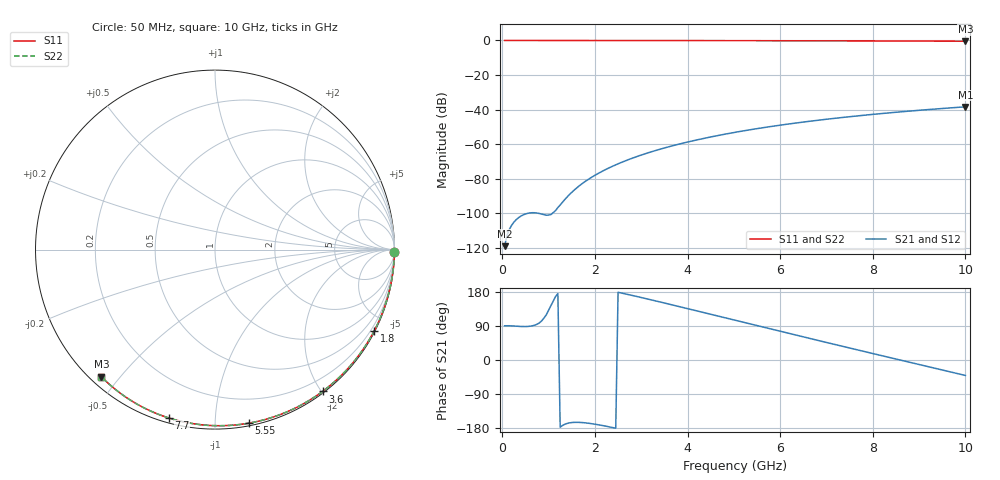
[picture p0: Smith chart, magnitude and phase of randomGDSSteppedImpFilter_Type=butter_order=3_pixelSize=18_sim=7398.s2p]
! freq	dB(S11)	phase(S11)	dB(S12)	phase(S12)
!  dB(S21)	phase(S21)	dB(S22)	phase(S22)
!S-par simulation data
#  GHz  S  DB  R 50
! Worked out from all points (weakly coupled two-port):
!   200 points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, 50 MHz to 10 GHz, reference 50 ohm
!   highest |S21| = -38.41 dB at 10 GHz (marker M1); lowest = -119.0 dB at 50 MHz (marker M2)
!   lowest |S11| = -0.4 dB at 10 GHz (marker M3), VSWR 38.90, Z = 1.54 - j22.3 ohm
!   |S11| at or under -10 dB: nowhere
!   |S22| runs from -0.4 to 0.0 dB; largest |S21 - S12| = 0
!   S11 on the Smith chart (normalised r, x): 50 MHz: open; 1.8 GHz: 0.04, -4.16; 3.6 GHz: 0.02, -2.01; 5.55 GHz: 0.02, -1.22; 7.7 GHz: 0.02, -0.76; 10 GHz: 0.03, -0.45
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0.05  -0.00 -0.8  -119.03 90.3  -119.03 90.3  -0.00 -0.8
0.9  -0.02 -13.6  -100.85 110.6  -100.85 110.6  -0.02 -13.6
1.75  -0.03 -26.3  -82.35 -165.4  -82.35 -165.4  -0.03 -26.3
1.8  -0.03 -27.0  -81.40 -166.0  -81.40 -166.0  -0.03 -27.0
1.85  -0.04 -27.7  -80.51 -166.7  -80.51 -166.7  -0.04 -27.7
1.9  -0.04 -28.5  -79.64 -167.5  -79.64 -167.5  -0.04 -28.5
2.05  -0.04 -30.7  -77.25 -170.4  -77.25 -170.4  -0.04 -30.7
2.25  -0.04 -33.6  -74.44 -174.9  -74.44 -174.9  -0.04 -33.6
2.45  -0.05 -36.5  -71.95 -180.0  -71.95 -180.0  -0.05 -36.5
2.65  -0.05 -39.4  -69.72 174.7  -69.72 174.7  -0.05 -39.4
3  -0.06 -44.4  -66.31 164.9  -66.31 164.9  -0.06 -44.4
3.4  -0.07 -50.0  -62.97 153.4  -62.97 153.4  -0.07 -50.0
3.6  -0.07 -52.8  -61.48 147.5  -61.48 147.5  -0.07 -52.8
4.3  -0.09 -62.4  -56.97 126.7  -56.97 126.7  -0.09 -62.4
5.05  -0.11 -72.4  -53.04 104.2  -53.04 104.2  -0.11 -72.4
5.55  -0.13 -78.9  -50.81 89.3  -50.81 89.3  -0.13 -78.9
6.1  -0.15 -85.9  -48.64 72.9  -48.64 72.9  -0.15 -85.9
6.7  -0.18 -93.3  -46.54 55.1  -46.54 55.1  -0.18 -93.3
7.7  -0.24 -105.3  -43.56 25.8  -43.56 25.8  -0.24 -105.3
8.35  -0.29 -113.0  -41.89 6.9  -41.89 6.9  -0.29 -113.0
9.15  -0.36 -122.2  -40.08 -16.2  -40.08 -16.2  -0.36 -122.2
10  -0.45 -131.8  -38.41 -40.8  -38.41 -40.8  -0.45 -131.8
